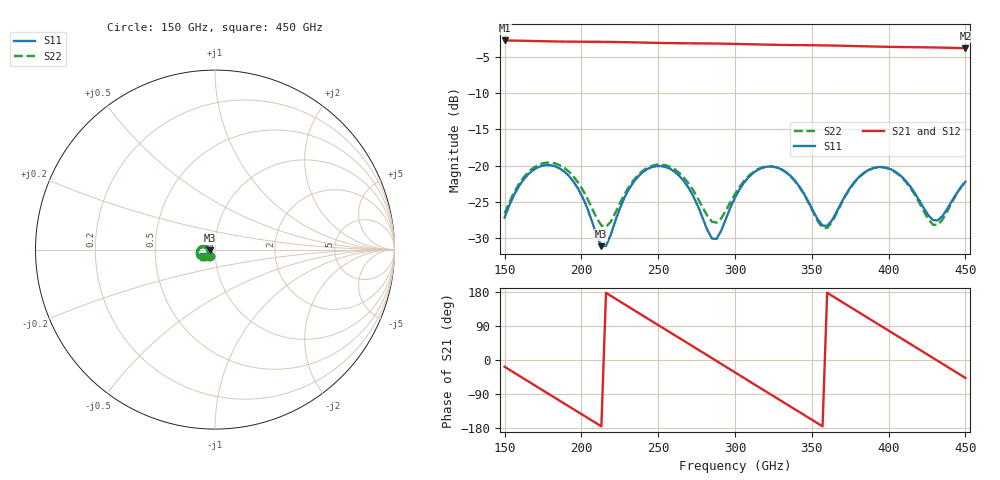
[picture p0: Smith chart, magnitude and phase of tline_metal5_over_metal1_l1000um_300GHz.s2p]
#  GHZ S DB R 50
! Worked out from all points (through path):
!   101 points, 150 GHz to 450 GHz, reference 50 ohm
!   highest |S21| = -2.79 dB at 150 GHz (marker M1); lowest = -3.9 dB at 450 GHz (marker M2)
!   group delay of S21, straight-line fit = 6.94 ps
!   lowest |S11| = -31.1 dB at 213 GHz (marker M3), VSWR 1.06, Z = 47.3 - j0.309 ohm
!   |S11| at or under -10 dB: start of sweep to end of sweep
!   |S22| runs from -28.6 to -19.6 dB; largest |S21 - S12| = 8.2e-14
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150  -27.12 -129.1  -2.79 -17.8  -2.79 -17.8  -26.55 -131.0
165  -21.25 -139.0  -2.85 -55.4  -2.85 -55.4  -20.98 -138.0
177  -19.92 -160.2  -2.91 -85.4  -2.91 -85.4  -19.58 -157.7
189  -20.83 178.1  -2.95 -115.2  -2.95 -115.2  -20.32 -177.8
201  -24.43 162.3  -2.97 -145.1  -2.97 -145.1  -23.38 168.7
213  -31.05 -173.3  -2.98 -175.2  -2.98 -175.2  -28.20 -174.0
222  -27.63 -131.7  -3.01 162.2  -3.01 162.2  -26.52 -142.5
234  -22.23 -136.8  -3.06 132.1  -3.06 132.1  -21.99 -142.2
252  -20.05 -167.1  -3.14 87.2  -3.14 87.2  -19.84 -168.2
267  -22.19 168.9  -3.18 49.9  -3.18 49.9  -21.70 170.6
285  -30.01 -174.4  -3.21 4.8  -3.21 4.8  -27.69 -176.5
300  -24.38 -134.6  -3.27 -32.8  -3.27 -32.8  -23.88 -144.7
312  -20.97 -148.0  -3.33 -62.8  -3.33 -62.8  -20.85 -155.0
324  -20.12 -167.4  -3.38 -92.7  -3.38 -92.7  -20.09 -172.8
336  -21.38 174.6  -3.42 -122.6  -3.42 -122.6  -21.40 169.9
351  -26.27 170.0  -3.45 -160.0  -3.45 -160.0  -26.43 165.8
360  -28.26 -162.5  -3.48 177.4  -3.48 177.4  -28.55 -165.0
381  -21.50 -149.0  -3.58 124.9  -3.58 124.9  -21.54 -150.4
402  -20.54 -179.2  -3.68 72.6  -3.68 72.6  -20.59 179.3
417  -23.74 166.6  -3.72 35.2  -3.72 35.2  -23.97 164.9
429  -27.47 -176.0  -3.76 5.2  -3.76 5.2  -28.12 -175.2
450  -22.20 -150.8  -3.86 -47.3  -3.86 -47.3  -22.17 -146.5
